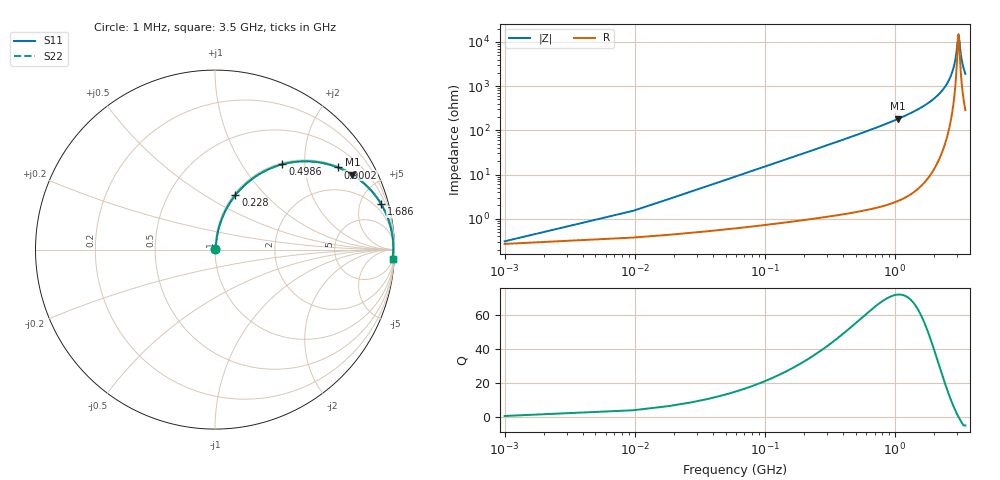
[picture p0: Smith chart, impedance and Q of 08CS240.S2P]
! Coilcraft 0805CS-240 Chip Inductor
! 11 June 2002
# MHZ S MA R 50
!Freq  MagS11  AngS11  MagS21  AngS21  MagS12  AngS12  MagS22  AngS22
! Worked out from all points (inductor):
!   402 points, 1 MHz to 3.5 GHz, reference 50 ohm
!   read as one part in series: L = 24 nH near 18.46 MHz
!   highest Q = 71.7 at 1.066 GHz (marker M1), where L = 27.2 nH
!   self-resonance near 3.091 GHz
!   S11 on the Smith chart (normalised r, x): 1 MHz: 1.01, +0.00; 228 MHz: 1.02, +0.69; 498.6 MHz: 1.03, +1.54; 900.2 MHz: 1.04, +2.97; 1.686 GHz: 1.13, +7.22; 3.5 GHz: 7, -37
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1  0.003085 29.1  0.9973 -0.1  0.9973 -0.1  0.003085 29.1
27.19  0.04105 81.0  0.9944 -2.3  0.9944 -2.3  0.04105 81.0
44.65  0.06705 81.5  0.9923 -3.8  0.9923 -3.8  0.06705 81.5
62.11  0.09292 80.9  0.9896 -5.3  0.9896 -5.3  0.09292 80.9
123.22  0.1818 77.1  0.9758 -10.5  0.9758 -10.5  0.1818 77.1
227.98  0.324 69.5  0.9369 -18.9  0.9369 -18.9  0.324 69.5
350.2  0.4675 60.9  0.8737 -27.9  0.8737 -27.9  0.4675 60.9
498.61  0.6058 51.7  0.7847 -37.3  0.7847 -37.3  0.6058 51.7
585.91  0.67 47.0  0.7311 -42.1  0.7311 -42.1  0.67 47.0
900.19  0.8236 33.7  0.5555 -55.4  0.5555 -55.4  0.8236 33.7
1066.06  0.8717 28.6  0.478 -60.6  0.478 -60.6  0.8717 28.6
1170.82  0.8947 25.7  0.4343 -63.5  0.4343 -63.5  0.8947 25.7
1685.89  0.9593 15.4  0.2656 -73.6  0.2656 -73.6  0.9593 15.4
1755.73  0.9642 14.3  0.2472 -74.6  0.2472 -74.6  0.9642 14.3
2340.64  0.9877 6.9  0.1202 -80.7  0.1202 -80.7  0.9877 6.9
2698.57  0.9926 3.4  0.05914 -81.1  0.05914 -81.1  0.9926 3.4
2925.55  0.9934 1.4  0.02521 -74.2  0.02521 -74.2  0.9934 1.4
2995.39  0.9935 0.8  0.01576 -65.1  0.01576 -65.1  0.9935 0.8
3073.96  0.9933 0.2  0.00747 -26.7  0.00747 -26.7  0.9933 0.2
3100.15  0.9933 -0.0  0.00674 1.9  0.00674 1.9  0.9933 -0.0
3274.75  0.9925 -1.3  0.02459 71.5  0.02459 71.5  0.9925 -1.3
3500  0.9906 -3.0  0.05236 78.2  0.05236 78.2  0.9906 -3.0
